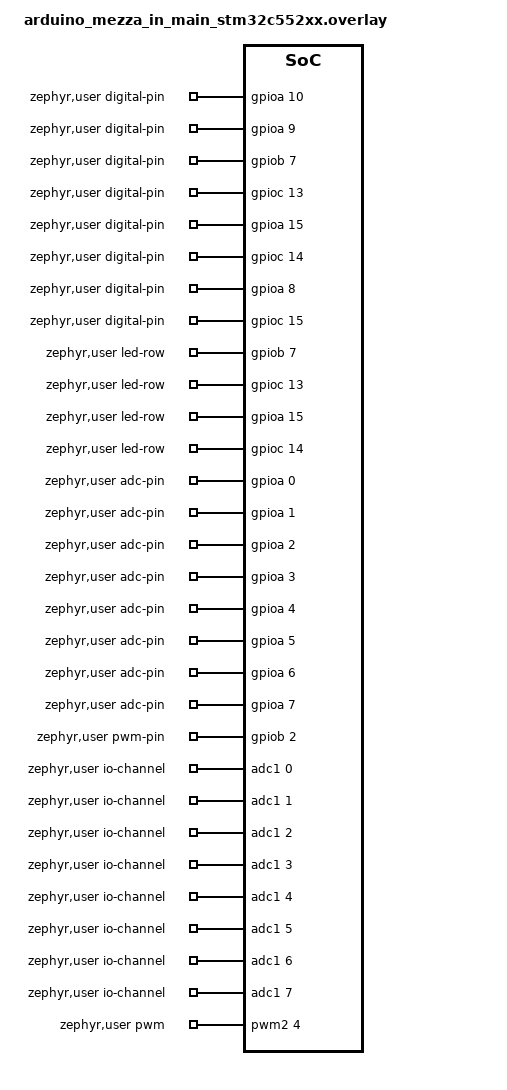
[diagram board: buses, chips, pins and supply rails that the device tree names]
/*
 * Copyright (c) Arduino s.r.l. and/or its affiliated companies
 *
 * SPDX-License-Identifier: Apache-2.0
 */
#include <zephyr/dt-bindings/pwm/pwm.h>
#include <zephyr/dt-bindings/pwm/stm32_pwm.h>

/delete-node/ &boot_partition;
/delete-node/ &slot0_partition;
/delete-node/ &slot1_partition;

&flash0 {
	partitions {
		slot0_partition: partition@0 {
			label = "loader";
			reg = <0x00000000 0x00100000>;
		};

		user_sketch: partition@100000 {
			label = "user_sketch";
			reg = <0x00100000 0x00300000>;
		};
	};
};

/ {
	zephyr,user {
		digital-pin-gpios =  <&gpioa 10 GPIO_ACTIVE_HIGH>,   /* D0 DETECT IN */
				    <&gpioa 9 GPIO_ACTIVE_HIGH>,               /* D1 DETECT OUT */
				    <&gpiob 7 GPIO_ACTIVE_HIGH>,               /* D2 LED_ROW_1 */
				    <&gpioc 13 GPIO_ACTIVE_HIGH>,              /* D3 LED_ROW_2 */
					 <&gpioa 15 GPIO_ACTIVE_HIGH>,              /* D4 LED_ROW_3 */
					 <&gpioc 14 GPIO_ACTIVE_HIGH>,				  /* D5 LED_ROW_4 */
				    <&gpioa 8 GPIO_ACTIVE_HIGH>,					  /* D6 RESET-MCU */
				    <&gpioc 15 GPIO_ACTIVE_HIGH>,              /* D7 BOOT-MCU */
				    <&gpioa 0 GPIO_ACTIVE_HIGH>,					  /* D8 - ADC */
				    <&gpioa 1 GPIO_ACTIVE_HIGH>,					  /* D9 - ADC */
				    <&gpioa 2 GPIO_ACTIVE_HIGH>,					  /* D10 - ADC */
				    <&gpioa 3 GPIO_ACTIVE_HIGH>,					  /* D11 - ADC */
				    <&gpioa 4 GPIO_ACTIVE_HIGH>,					  /* D12 - ADC */
				    <&gpioa 5 GPIO_ACTIVE_HIGH>,					  /* D13 - ADC */
				    <&gpioa 6 GPIO_ACTIVE_HIGH>,					  /* D14 - ADC */
				    <&gpioa 7 GPIO_ACTIVE_HIGH>,					  /* D15 - ADC */
				    <&gpiob 0 GPIO_ACTIVE_HIGH>,					  /* D16 - ADC */
				    <&gpiob 1 GPIO_ACTIVE_HIGH>;					  /* D17 - ADC */

		led-row-gpios = <&gpiob 7 GPIO_ACTIVE_HIGH>,
						    <&gpioc 13 GPIO_ACTIVE_HIGH>,
							 <&gpioa 15 GPIO_ACTIVE_HIGH>,
							 <&gpioc 14 GPIO_ACTIVE_HIGH>;

		adc-pin-gpios = <&gpioa 0 0>,
				    <&gpioa 1 0>,
				    <&gpioa 2 0>,
				    <&gpioa 3 0>,
				    <&gpioa 4 0>,
				    <&gpioa 5 0>,
				    <&gpioa 6 0>,
				    <&gpioa 7 0>,
				    <&gpiob 0 0>,
				    <&gpiob 1 0>;

		io-channels = <&adc1 0>,
						  <&adc1 1>,
						  <&adc1 2>,
						  <&adc1 3>,
						  <&adc1 4>,
						  <&adc1 5>,
						  <&adc1 6>,
						  <&adc1 7>,
			           <&adc2 6>,
				        <&adc2 7>;
		pwm-pin-gpios = <&gpiob 2 0>;
		cdc-acm-serial = <&board_cdc_acm_uart>;
		serials = <&uart5>, <&usart3>;
		i2cs = <&i2c1>;
		spis = <&spi2>;
		pwms = <&pwm2 4 PWM_HZ(12000000) PWM_POLARITY_NORMAL>;
	};
};

